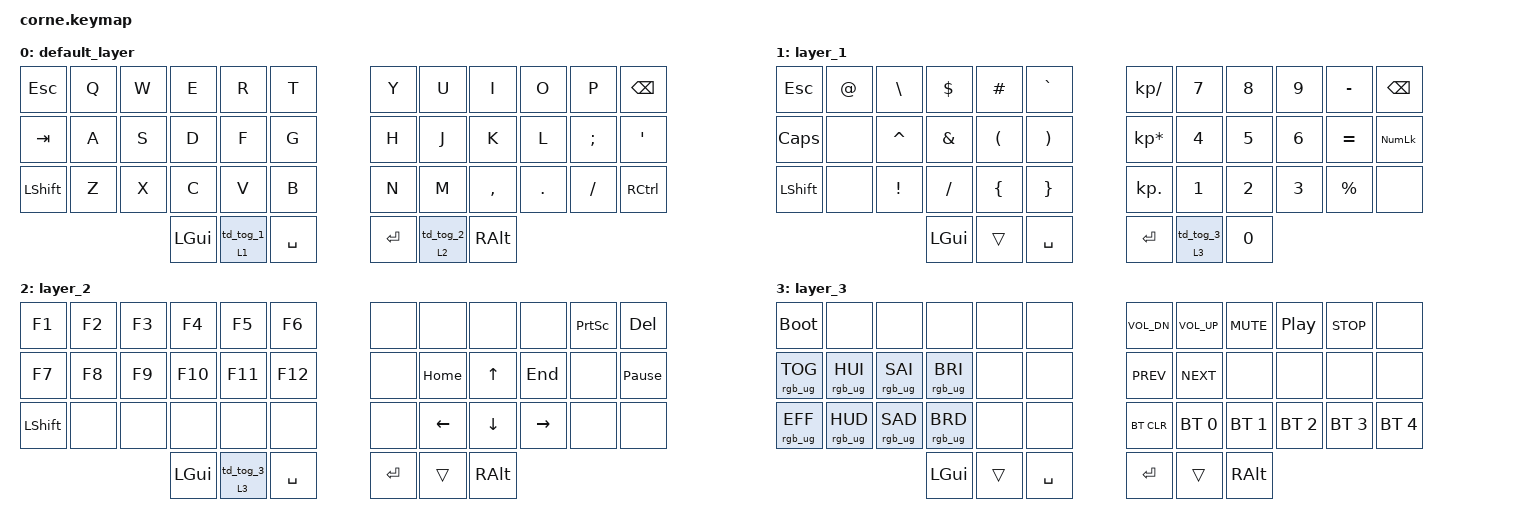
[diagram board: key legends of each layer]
/*
 * Copyright (c) 2020 The ZMK Contributors
 *
 * SPDX-License-Identifier: MIT
 */

#include <behaviors.dtsi>
#include <dt-bindings/zmk/bt.h>
#include <dt-bindings/zmk/keys.h>
#include <dt-bindings/zmk/rgb.h>

// QMK TT(n): hold = momentánea, doble tap = capa fija
#define TT1 &ht_tt_1 1 0
#define TT2 &ht_tt_2 2 0
#define TT3 &ht_tt_3 3 0

/ {
    // Hold = &mo. Doble tap = &tog. Equivalente a QMK TT().
    behaviors {
        td_tog_1: tap_dance_toggle_1 {
            compatible = "zmk,behavior-tap-dance";
            #binding-cells = <0>;
            tapping-term-ms = <400>;
            bindings = <&none>, <&tog 1>;
        };

        td_tog_2: tap_dance_toggle_2 {
            compatible = "zmk,behavior-tap-dance";
            #binding-cells = <0>;
            tapping-term-ms = <400>;
            bindings = <&none>, <&tog 2>;
        };

        td_tog_3: tap_dance_toggle_3 {
            compatible = "zmk,behavior-tap-dance";
            #binding-cells = <0>;
            tapping-term-ms = <400>;
            bindings = <&none>, <&tog 3>;
        };

        ht_tt_1: hold_tap_toggle_1 {
            compatible = "zmk,behavior-hold-tap";
            #binding-cells = <2>;
            flavor = "hold-preferred";
            tapping-term-ms = <200>;
            bindings = <&mo>, <&td_tog_1>;
        };

        ht_tt_2: hold_tap_toggle_2 {
            compatible = "zmk,behavior-hold-tap";
            #binding-cells = <2>;
            flavor = "hold-preferred";
            tapping-term-ms = <200>;
            bindings = <&mo>, <&td_tog_2>;
        };

        ht_tt_3: hold_tap_toggle_3 {
            compatible = "zmk,behavior-hold-tap";
            #binding-cells = <2>;
            flavor = "hold-preferred";
            tapping-term-ms = <200>;
            bindings = <&mo>, <&td_tog_3>;
        };
    };

    keymap {
        compatible = "zmk,keymap";

        default_layer {
            bindings = <
&kp ESC     &kp Q  &kp W  &kp E  &kp R  &kp T        &kp Y  &kp U  &kp I     &kp O    &kp P     &kp BSPC
&kp TAB     &kp A  &kp S  &kp D  &kp F  &kp G        &kp H  &kp J  &kp K     &kp L    &kp SEMI  &kp SQT
&kp LSHFT   &kp Z  &kp X  &kp C  &kp V  &kp B        &kp N  &kp M  &kp COMMA &kp DOT  &kp FSLH  &kp RCTRL
                              &kp LGUI  TT1  &kp SPACE    &kp RET  TT2  &kp RALT
            >;
        };

        layer_1 {
            bindings = <
&kp ESC     &kp AT   &kp BSLH  &kp DLLR  &kp HASH  &kp GRAVE    &kp KP_SLASH  &kp N7  &kp N8  &kp N9     &kp MINUS  &kp BSPC
&kp CAPS    &none    &kp CARET &kp AMPS  &kp LPAR  &kp RPAR     &kp KP_MULTIPLY &kp N4  &kp N5  &kp N6     &kp EQUAL  &kp KP_NUM
&kp LSHFT   &none    &kp EXCL  &kp FSLH  &kp LBRC  &kp RBRC     &kp KP_DOT    &kp N1  &kp N2  &kp N3     &kp PRCNT  &none
                                        &kp LGUI  &trans  &kp SPACE    &kp RET  TT3  &kp N0
            >;
        };

        layer_2 {
            bindings = <
&kp F1   &kp F2   &kp F3   &kp F4   &kp F5   &kp F6      &none  &none  &none  &none  &kp PSCRN  &kp DEL
&kp F7   &kp F8   &kp F9   &kp F10  &kp F11  &kp F12     &none  &kp HOME &kp UP &kp END  &none  &kp PAUSE_BREAK
&kp LSHFT &none   &none    &none    &none    &none       &none  &kp LEFT &kp DOWN &kp RIGHT &none  &none
                              &kp LGUI  TT3  &kp SPACE    &kp RET  &trans  &kp RALT
            >;
        };

        layer_3 {
            bindings = <
&bootloader  &none  &none  &none  &none  &none        &kp C_VOL_DN  &kp C_VOL_UP  &kp C_MUTE  &kp C_PP  &kp C_STOP  &none
&rgb_ug RGB_TOG  &rgb_ug RGB_HUI  &rgb_ug RGB_SAI  &rgb_ug RGB_BRI  &none  &none  &kp C_PREV  &kp C_NEXT  &none  &none  &none  &none
&rgb_ug RGB_EFF  &rgb_ug RGB_HUD  &rgb_ug RGB_SAD  &rgb_ug RGB_BRD  &none  &none  &bt BT_CLR  &bt BT_SEL 0  &bt BT_SEL 1  &bt BT_SEL 2  &bt BT_SEL 3  &bt BT_SEL 4
                              &kp LGUI  &trans  &kp SPACE    &kp RET  &trans  &kp RALT
            >;
        };
    };
};
